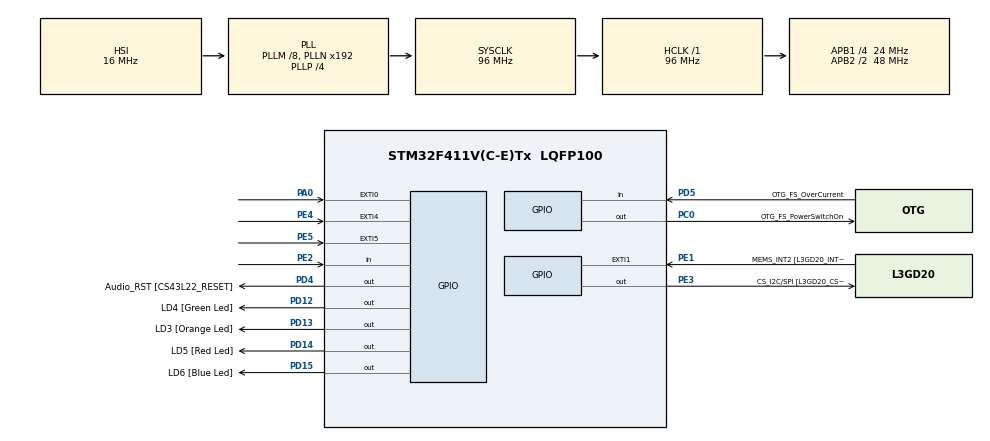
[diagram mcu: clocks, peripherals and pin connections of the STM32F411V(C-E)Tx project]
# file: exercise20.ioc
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FREERTOS.Tasks01=Receiving,0,128,StartReceiving,Default,NULL,Dynamic,NULL,NULL;Sending,0,128,StartSending,Default,NULL,Dynamic,NULL,NULL
Mcu.Family=STM32F4
Mcu.Name=STM32F411V(C-E)Tx
Mcu.Package=LQFP100
NVIC.PriorityGroup=NVIC_PRIORITYGROUP_4
NVIC.TIM1_UP_TIM10_IRQn=true\:0\:0\:false\:false\:true\:false\:false\:true
NVIC.TimeBase=TIM1_UP_TIM10_IRQn
NVIC.TimeBaseIP=TIM1
PA0-WKUP.GPIO_ModeDefaultEXTI=GPIO_MODE_EVT_RISING
PA0-WKUP.Signal=GPXTI0
PA10.GPIO_Label=OTG_FS_ID
PA10.Signal=USB_OTG_FS_ID
PA11.GPIO_Label=OTG_FS_DM
PA11.Signal=USB_OTG_FS_DM
PA12.GPIO_Label=OTG_FS_DP
PA12.Signal=USB_OTG_FS_DP
PA13.GPIO_Label=SWDIO
PA13.Signal=SYS_JTMS-SWDIO
PA14.GPIO_Label=SWCLK
PA14.Signal=SYS_JTCK-SWCLK
PA4.GPIO_Label=I2S3_WS [CS43L22_LRCK]
PA4.GPIO_Mode=GPIO_MODE_AF_PP
PA4.GPIO_PuPd=GPIO_NOPULL
PA4.GPIO_Speed=GPIO_SPEED_FREQ_LOW
PA4.Signal=I2S3_WS
PA5.GPIO_Label=SPI1_SCK [L3GD20_SC/SPC]
PA5.Signal=SPI1_SCK
PA6.GPIO_Label=SPI1_MISO [L3GD20_AS0/SDO]
PA6.Signal=SPI1_MISO
PA7.GPIO_Label=SPI1_MOSI [L3GD20_SDA/SDI/SDO]
PA7.Signal=SPI1_MOSI
PA9.GPIO_Label=VBUS_FS
PA9.Signal=USB_OTG_FS_VBUS
PB10.GPIO_Label=CLK_IN [MP45DT02_CLK]
PB10.Signal=I2S2_CK
PB12.Signal=I2S2_WS
PB3.GPIO_Label=SWO
PB3.Signal=SYS_JTDO-SWO
PB6.GPIO_Label=Audio_SCL [CS43L22_SCL]
PB6.GPIO_Mode=GPIO_MODE_AF_OD
PB6.GPIO_PuPd=GPIO_NOPULL
PB6.GPIO_Speed=GPIO_SPEED_FREQ_LOW
PB6.Signal=I2C1_SCL
PB9.GPIO_Label=Audio_SDA [CS43L22_SDA]
PB9.GPIO_Mode=GPIO_MODE_AF_OD
PB9.GPIO_PuPd=GPIO_NOPULL
PB9.GPIO_Speed=GPIO_SPEED_FREQ_LOW
PB9.Signal=I2C1_SDA
PC0.GPIO_Label=OTG_FS_PowerSwitchOn
PC0.PinState=GPIO_PIN_SET
PC0.Signal=GPIO_Output
PC10.GPIO_Label=I2S3_SCK [CS43L22_SCLK]
PC10.GPIO_Mode=GPIO_MODE_AF_PP
PC10.GPIO_PuPd=GPIO_NOPULL
PC10.GPIO_Speed=GPIO_SPEED_FREQ_LOW
PC10.Signal=I2S3_CK
PC12.GPIO_Label=I2S3_SD [CS43L22_SDIN]
PC12.GPIO_Mode=GPIO_MODE_AF_PP
PC12.GPIO_PuPd=GPIO_NOPULL
PC12.GPIO_Speed=GPIO_SPEED_FREQ_LOW
PC12.Signal=I2S3_SD
PC14-OSC32_IN.GPIO_Label=PC14-OSC32_IN
PC14-OSC32_IN.Signal=RCC_OSC32_IN
PC15-OSC32_OUT.GPIO_Label=PC15-OSC32_OUT
PC15-OSC32_OUT.Signal=RCC_OSC32_OUT
PC3.GPIO_Label=PDM_OUT [MP45DT02_DOUT]
PC3.Signal=I2S2_SD
PC7.GPIO_Label=I2S3_MCK [CS43L22_MCLK]
PC7.GPIO_Mode=GPIO_MODE_AF_PP
PC7.GPIO_PuPd=GPIO_NOPULL
PC7.GPIO_Speed=GPIO_SPEED_FREQ_LOW
PC7.Signal=I2S3_MCK
PD12.GPIO_Label=LD4 [Green Led]
PD12.GPIO_PuPd=GPIO_NOPULL
PD12.GPIO_Speed=GPIO_SPEED_FREQ_LOW
PD12.Signal=GPIO_Output
PD13.GPIO_Label=LD3 [Orange Led]
PD13.GPIO_PuPd=GPIO_NOPULL
PD13.GPIO_Speed=GPIO_SPEED_FREQ_LOW
PD13.Signal=GPIO_Output
PD14.GPIO_Label=LD5 [Red Led]
PD14.GPIO_PuPd=GPIO_NOPULL
PD14.GPIO_Speed=GPIO_SPEED_FREQ_LOW
PD14.Signal=GPIO_Output
PD15.GPIO_Label=LD6 [Blue Led]
PD15.GPIO_PuPd=GPIO_NOPULL
PD15.GPIO_Speed=GPIO_SPEED_FREQ_LOW
PD15.Signal=GPIO_Output
PD4.GPIO_Label=Audio_RST [CS43L22_RESET]
PD4.Signal=GPIO_Output
PD5.GPIO_Label=OTG_FS_OverCurrent
PD5.Signal=GPIO_Input
PE1.GPIO_Label=MEMS_INT2 [L3GD20_INT2]
PE1.GPIO_ModeDefaultEXTI=GPIO_MODE_EVT_RISING
PE1.Signal=GPXTI1
PE2.Signal=GPIO_Input
PE3.GPIO_Label=CS_I2C/SPI [L3GD20_CS_I2C/SPI]
PE3.Signal=GPIO_Output
PE4.GPIO_ModeDefaultEXTI=GPIO_MODE_EVT_RISING
PE4.Signal=GPXTI4
PE5.GPIO_ModeDefaultEXTI=GPIO_MODE_EVT_RISING
PE5.Signal=GPXTI5
PH0\ -\ OSC_IN.GPIO_Label=PH0-OSC_IN
PH0\ -\ OSC_IN.Signal=RCC_OSC_IN
PH1\ -\ OSC_OUT.GPIO_Label=PH1-OSC_OUT
PH1\ -\ OSC_OUT.Signal=RCC_OSC_OUT
ProjectManager.HeapSize=0x200
ProjectManager.StackSize=0x400
ProjectManager.TargetToolchain=STM32CubeIDE
RCC.48MHZClocksFreq_Value=48000000
RCC.AHBFreq_Value=96000000
RCC.APB1CLKDivider=RCC_HCLK_DIV4
RCC.APB1Freq_Value=24000000
RCC.APB1TimFreq_Value=48000000
RCC.APB2CLKDivider=RCC_HCLK_DIV2
RCC.APB2Freq_Value=48000000
RCC.APB2TimFreq_Value=96000000
RCC.CortexFreq_Value=96000000
RCC.HCLKFreq_Value=96000000
RCC.HSE_VALUE=8000000
RCC.HSI_VALUE=16000000
RCC.LSE_VALUE=32768
RCC.PLLI2SM=5
RCC.PLLI2SN=200
RCC.PLLM=8
RCC.PLLP=RCC_PLLP_DIV4
RCC.PLLQ=8
RCC.SYSCLKFreq_VALUE=96000000
RCC.SYSCLKSource=RCC_SYSCLKSOURCE_PLLCLK
RCC.VCOOutputFreq_Value=384000000
VP_FREERTOS_VS_CMSIS_V1.Mode=CMSIS_V1
VP_SYS_VS_tim1.Mode=TIM1
board=STM32F411E-DISCO

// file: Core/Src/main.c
/* USER CODE BEGIN Header */
/**
  ******************************************************************************
  * @file           : main.c
  * @brief          : Main program body
  ******************************************************************************
  * @attention
  *
  * <h2><center>&copy; Copyright (c) 2021 STMicroelectronics.
  * All rights reserved.</center></h2>
  *
  * This software component is licensed by ST under BSD 3-Clause license,
  * the "License"; You may not use this file except in compliance with the
  * License. You may obtain a copy of the License at:
  *                        opensource.org/licenses/BSD-3-Clause
  *
  ******************************************************************************
  */
/* USER CODE END Header */

#include "main.h"
#include "cmsis_os.h"

/* USER CODE BEGIN Includes */
#include "mailbox.h"
/* USER CODE END Includes */

/* USER CODE BEGIN PD */
#define RED GPIO_PIN_14
#define GREEN GPIO_PIN_12
#define BLUE GPIO_PIN_15
#define ORANGE GPIO_PIN_13
/* USER CODE END PD */

osThreadId ReceivingHandle;
osThreadId SendingHandle;

void SystemClock_Config(void);
static void MX_GPIO_Init(void);
void StartReceiving(void const * argument);
void StartSending(void const * argument);

int main(void)
{

  /* MCU Configuration--------------------------------------------------------*/

  /* Reset of all peripherals, Initializes the Flash interface and the Systick. */
  HAL_Init();

  /* USER CODE BEGIN Init */
  InitMailbox();
  /* USER CODE END Init */

  /* Configure the system clock */
  SystemClock_Config();

  /* Initialize all configured peripherals */
  MX_GPIO_Init();

  /* Create the thread(s) */
  /* definition and creation of Receiving */
  osThreadDef(Receiving, StartReceiving, osPriorityNormal, 0, 128);
  ReceivingHandle = osThreadCreate(osThread(Receiving), NULL);

  /* definition and creation of Sending */
  osThreadDef(Sending, StartSending, osPriorityNormal, 0, 128);
  SendingHandle = osThreadCreate(osThread(Sending), NULL);

  /* Start scheduler */
  osKernelStart();

  /* We should never get here as control is now taken by the scheduler */

  /* Infinite loop */
  while (1)
  {

  }
}

void SystemClock_Config(void)
{
  RCC_OscInitTypeDef RCC_OscInitStruct = {0};
  RCC_ClkInitTypeDef RCC_ClkInitStruct = {0};

  /** Configure the main internal regulator output voltage
  */
  __HAL_RCC_PWR_CLK_ENABLE();
  __HAL_PWR_VOLTAGESCALING_CONFIG(PWR_REGULATOR_VOLTAGE_SCALE1);
  /** Initializes the CPU, AHB and APB busses clocks
  */
  RCC_OscInitStruct.OscillatorType = RCC_OSCILLATORTYPE_HSI;
  RCC_OscInitStruct.HSIState = RCC_HSI_ON;
  RCC_OscInitStruct.HSICalibrationValue = RCC_HSICALIBRATION_DEFAULT;
  RCC_OscInitStruct.PLL.PLLState = RCC_PLL_ON;
  RCC_OscInitStruct.PLL.PLLSource = RCC_PLLSOURCE_HSI;
  RCC_OscInitStruct.PLL.PLLM = 8;
  RCC_OscInitStruct.PLL.PLLN = 192;
  RCC_OscInitStruct.PLL.PLLP = RCC_PLLP_DIV4;
  RCC_OscInitStruct.PLL.PLLQ = 8;
  if (HAL_RCC_OscConfig(&RCC_OscInitStruct) != HAL_OK)
  {
    Error_Handler();
  }
  /** Initializes the CPU, AHB and APB busses clocks
  */
  RCC_ClkInitStruct.ClockType = RCC_CLOCKTYPE_HCLK|RCC_CLOCKTYPE_SYSCLK
                              |RCC_CLOCKTYPE_PCLK1|RCC_CLOCKTYPE_PCLK2;
  RCC_ClkInitStruct.SYSCLKSource = RCC_SYSCLKSOURCE_PLLCLK;
  RCC_ClkInitStruct.AHBCLKDivider = RCC_SYSCLK_DIV1;
  RCC_ClkInitStruct.APB1CLKDivider = RCC_HCLK_DIV4;
  RCC_ClkInitStruct.APB2CLKDivider = RCC_HCLK_DIV2;

  if (HAL_RCC_ClockConfig(&RCC_ClkInitStruct, FLASH_LATENCY_3) != HAL_OK)
  {
    Error_Handler();
  }
}

static void MX_GPIO_Init(void)
{
  GPIO_InitTypeDef GPIO_InitStruct = {0};

  /* GPIO Ports Clock Enable */
  __HAL_RCC_GPIOE_CLK_ENABLE();
  __HAL_RCC_GPIOC_CLK_ENABLE();
  __HAL_RCC_GPIOH_CLK_ENABLE();
  __HAL_RCC_GPIOA_CLK_ENABLE();
  __HAL_RCC_GPIOB_CLK_ENABLE();
  __HAL_RCC_GPIOD_CLK_ENABLE();

  /*Configure GPIO pin Output Level */
  HAL_GPIO_WritePin(CS_I2C_SPI_GPIO_Port, CS_I2C_SPI_Pin, GPIO_PIN_RESET);

  /*Configure GPIO pin Output Level */
  HAL_GPIO_WritePin(OTG_FS_PowerSwitchOn_GPIO_Port, OTG_FS_PowerSwitchOn_Pin, GPIO_PIN_SET);

  /*Configure GPIO pin Output Level */
  HAL_GPIO_WritePin(GPIOD, LD4_Pin|LD3_Pin|LD5_Pin|LD6_Pin
                          |Audio_RST_Pin, GPIO_PIN_RESET);

  /*Configure GPIO pin : PE2 */
  GPIO_InitStruct.Pin = GPIO_PIN_2;
  GPIO_InitStruct.Mode = GPIO_MODE_INPUT;
  GPIO_InitStruct.Pull = GPIO_NOPULL;
  HAL_GPIO_Init(GPIOE, &GPIO_InitStruct);

  /*Configure GPIO pin : CS_I2C_SPI_Pin */
  GPIO_InitStruct.Pin = CS_I2C_SPI_Pin;
  GPIO_InitStruct.Mode = GPIO_MODE_OUTPUT_PP;
  GPIO_InitStruct.Pull = GPIO_NOPULL;
  GPIO_InitStruct.Speed = GPIO_SPEED_FREQ_LOW;
  HAL_GPIO_Init(CS_I2C_SPI_GPIO_Port, &GPIO_InitStruct);

  /*Configure GPIO pins : PE4 PE5 MEMS_INT2_Pin */
  GPIO_InitStruct.Pin = GPIO_PIN_4|GPIO_PIN_5|MEMS_INT2_Pin;
  GPIO_InitStruct.Mode = GPIO_MODE_EVT_RISING;
  GPIO_InitStruct.Pull = GPIO_NOPULL;
  HAL_GPIO_Init(GPIOE, &GPIO_InitStruct);

  /*Configure GPIO pin : OTG_FS_PowerSwitchOn_Pin */
  GPIO_InitStruct.Pin = OTG_FS_PowerSwitchOn_Pin;
  GPIO_InitStruct.Mode = GPIO_MODE_OUTPUT_PP;
  GPIO_InitStruct.Pull = GPIO_NOPULL;
  GPIO_InitStruct.Speed = GPIO_SPEED_FREQ_LOW;
  HAL_GPIO_Init(OTG_FS_PowerSwitchOn_GPIO_Port, &GPIO_InitStruct);

  /*Configure GPIO pin : PDM_OUT_Pin */
  GPIO_InitStruct.Pin = PDM_OUT_Pin;
  GPIO_InitStruct.Mode = GPIO_MODE_AF_PP;
  GPIO_InitStruct.Pull = GPIO_NOPULL;
  GPIO_InitStruct.Speed = GPIO_SPEED_FREQ_LOW;
  GPIO_InitStruct.Alternate = GPIO_AF5_SPI2;
  HAL_GPIO_Init(PDM_OUT_GPIO_Port, &GPIO_InitStruct);

  /*Configure GPIO pin : PA0 */
  GPIO_InitStruct.Pin = GPIO_PIN_0;
  GPIO_InitStruct.Mode = GPIO_MODE_EVT_RISING;
  GPIO_InitStruct.Pull = GPIO_NOPULL;
  HAL_GPIO_Init(GPIOA, &GPIO_InitStruct);

  /*Configure GPIO pin : I2S3_WS_Pin */
  GPIO_InitStruct.Pin = I2S3_WS_Pin;
  GPIO_InitStruct.Mode = GPIO_MODE_AF_PP;
  GPIO_InitStruct.Pull = GPIO_NOPULL;
  GPIO_InitStruct.Speed = GPIO_SPEED_FREQ_LOW;
  GPIO_InitStruct.Alternate = GPIO_AF6_SPI3;
  HAL_GPIO_Init(I2S3_WS_GPIO_Port, &GPIO_InitStruct);

  /*Configure GPIO pins : SPI1_SCK_Pin SPI1_MISO_Pin SPI1_MOSI_Pin */
  GPIO_InitStruct.Pin = SPI1_SCK_Pin|SPI1_MISO_Pin|SPI1_MOSI_Pin;
  GPIO_InitStruct.Mode = GPIO_MODE_AF_PP;
  GPIO_InitStruct.Pull = GPIO_NOPULL;
  GPIO_InitStruct.Speed = GPIO_SPEED_FREQ_VERY_HIGH;
  GPIO_InitStruct.Alternate = GPIO_AF5_SPI1;
  HAL_GPIO_Init(GPIOA, &GPIO_InitStruct);

  /*Configure GPIO pins : CLK_IN_Pin PB12 */
  GPIO_InitStruct.Pin = CLK_IN_Pin|GPIO_PIN_12;
  GPIO_InitStruct.Mode = GPIO_MODE_AF_PP;
  GPIO_InitStruct.Pull = GPIO_NOPULL;
  GPIO_InitStruct.Speed = GPIO_SPEED_FREQ_LOW;
  GPIO_InitStruct.Alternate = GPIO_AF5_SPI2;
  HAL_GPIO_Init(GPIOB, &GPIO_InitStruct);

  /*Configure GPIO pins : LD4_Pin LD3_Pin LD5_Pin LD6_Pin
                           Audio_RST_Pin */
  GPIO_InitStruct.Pin = LD4_Pin|LD3_Pin|LD5_Pin|LD6_Pin
                          |Audio_RST_Pin;
  GPIO_InitStruct.Mode = GPIO_MODE_OUTPUT_PP;
  GPIO_InitStruct.Pull = GPIO_NOPULL;
  GPIO_InitStruct.Speed = GPIO_SPEED_FREQ_LOW;
  HAL_GPIO_Init(GPIOD, &GPIO_InitStruct);

  /*Configure GPIO pins : I2S3_MCK_Pin I2S3_SCK_Pin I2S3_SD_Pin */
  GPIO_InitStruct.Pin = I2S3_MCK_Pin|I2S3_SCK_Pin|I2S3_SD_Pin;
  GPIO_InitStruct.Mode = GPIO_MODE_AF_PP;
  GPIO_InitStruct.Pull = GPIO_NOPULL;
  GPIO_InitStruct.Speed = GPIO_SPEED_FREQ_LOW;
  GPIO_InitStruct.Alternate = GPIO_AF6_SPI3;
  HAL_GPIO_Init(GPIOC, &GPIO_InitStruct);

  /*Configure GPIO pin : VBUS_FS_Pin */
  GPIO_InitStruct.Pin = VBUS_FS_Pin;
  GPIO_InitStruct.Mode = GPIO_MODE_INPUT;
  GPIO_InitStruct.Pull = GPIO_NOPULL;
  HAL_GPIO_Init(VBUS_FS_GPIO_Port, &GPIO_InitStruct);

  /*Configure GPIO pins : OTG_FS_ID_Pin OTG_FS_DM_Pin OTG_FS_DP_Pin */
  GPIO_InitStruct.Pin = OTG_FS_ID_Pin|OTG_FS_DM_Pin|OTG_FS_DP_Pin;
  GPIO_InitStruct.Mode = GPIO_MODE_AF_PP;
  GPIO_InitStruct.Pull = GPIO_NOPULL;
  GPIO_InitStruct.Speed = GPIO_SPEED_FREQ_VERY_HIGH;
  GPIO_InitStruct.Alternate = GPIO_AF10_OTG_FS;
  HAL_GPIO_Init(GPIOA, &GPIO_InitStruct);

  /*Configure GPIO pin : OTG_FS_OverCurrent_Pin */
  GPIO_InitStruct.Pin = OTG_FS_OverCurrent_Pin;
  GPIO_InitStruct.Mode = GPIO_MODE_INPUT;
  GPIO_InitStruct.Pull = GPIO_NOPULL;
  HAL_GPIO_Init(OTG_FS_OverCurrent_GPIO_Port, &GPIO_InitStruct);

  /*Configure GPIO pins : Audio_SCL_Pin Audio_SDA_Pin */
  GPIO_InitStruct.Pin = Audio_SCL_Pin|Audio_SDA_Pin;
  GPIO_InitStruct.Mode = GPIO_MODE_AF_OD;
  GPIO_InitStruct.Pull = GPIO_PULLUP;
  GPIO_InitStruct.Speed = GPIO_SPEED_FREQ_LOW;
  GPIO_InitStruct.Alternate = GPIO_AF4_I2C1;
  HAL_GPIO_Init(GPIOB, &GPIO_InitStruct);

}

void StartReceiving(void const * argument)
{
  /* USER CODE BEGIN 5 */
  int syncMessage;
  HAL_GPIO_WritePin(GPIOD, ORANGE, GPIO_PIN_RESET);
  HAL_GPIO_WritePin(GPIOD, BLUE, GPIO_PIN_SET);
  /* Infinite loop */
  for(;;)
  {
	for(int i = 0; i < 2*5*10; i++){
	  HAL_GPIO_TogglePin(GPIOD, GREEN);
	  osDelay(50);
	}

	syncMessage = Pend();

	if(syncMessage == SYNC_1){
		HAL_GPIO_WritePin(GPIOD, ORANGE, GPIO_PIN_SET);
		HAL_GPIO_WritePin(GPIOD, BLUE, GPIO_PIN_RESET);
	}else if(syncMessage == SYNC_2){
		HAL_GPIO_WritePin(GPIOD, ORANGE, GPIO_PIN_RESET);
		HAL_GPIO_WritePin(GPIOD, BLUE, GPIO_PIN_SET);
	}

	for(int i = 0; i < 2*10; i++){
	  HAL_GPIO_TogglePin(GPIOD, GREEN);
	  osDelay(500);
	}

	syncMessage = Pend();

	if(syncMessage == SYNC_1){
		HAL_GPIO_WritePin(GPIOD, ORANGE, GPIO_PIN_SET);
		HAL_GPIO_WritePin(GPIOD, BLUE, GPIO_PIN_RESET);
	}else if(syncMessage == SYNC_2){
		HAL_GPIO_WritePin(GPIOD, ORANGE, GPIO_PIN_RESET);
		HAL_GPIO_WritePin(GPIOD, BLUE, GPIO_PIN_SET);
	}
  }
  /* USER CODE END 5 */
}

void StartSending(void const * argument)
{
  /* USER CODE BEGIN StartSending */
  /* Infinite loop */
  for(;;)
  {
	for(int i = 0; i < 2*10; i++){
	  HAL_GPIO_TogglePin(GPIOD, RED);
	  osDelay(500);
	}

	Post(SYNC_1);

	for(int i = 0; i < 2*5*10; i++){
	  HAL_GPIO_TogglePin(GPIOD, RED);
	  osDelay(50);
	}

	Post(SYNC_2);
  }
  /* USER CODE END StartSending */
}

void HAL_TIM_PeriodElapsedCallback(TIM_HandleTypeDef *htim)
{
  if (htim->Instance == TIM1) {
    HAL_IncTick();
  }
}

void Error_Handler(void)
{
}

/************************ (C) COPYRIGHT STMicroelectronics *****END OF FILE****/
